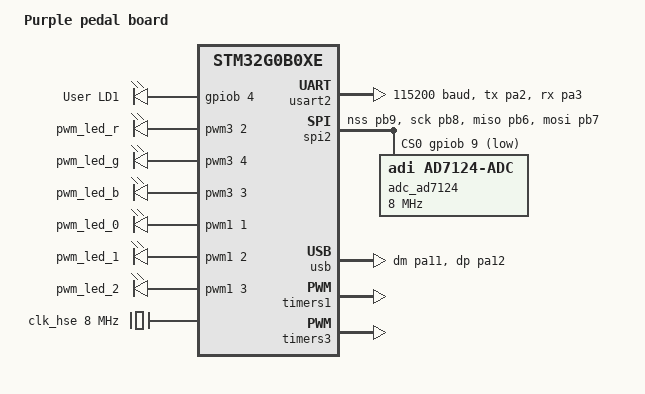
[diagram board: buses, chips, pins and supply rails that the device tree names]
/dts-v1/;
#include <st/g0/stm32g0b0Xe.dtsi>
#include <st/g0/stm32g0b0cetx-pinctrl.dtsi>
// #include <st/g0/stm32g0b1Xe.dtsi>
// #include <st/g0/stm32g0b1r(b-c-e)tx-pinctrl.dtsi>
#include <zephyr/dt-bindings/input/input-event-codes.h>

//#include <zephyr/dt-bindings/clock/stm32g0_b1x_c1x_clock.h>
//change to STM32G0B0CET6 

/ {
	model = "Purple pedal board";
	compatible = "zoudio,purple_pedal";

	chosen {
		zephyr,console = &usart2;
		zephyr,shell-uart = &usart2;
		zephyr,sram = &sram0;
		zephyr,flash = &flash0;
        //zephyr,uart-mcumgr = &cdc_acm_uart0;
        zephyr,code-partition = &slot0_partition;
	};

	// clocks {
	// 	clk_hsi48: clk-hsi48 {
	// 		#clock-cells = <0>;
	// 		compatible = "st,stm32-hsi48-clock";
	// 		clock-frequency = <DT_FREQ_M(48)>;
	// 		status = "okay";
	// 	};
	// };

	leds: leds {
		compatible = "gpio-leds";

		green_led_1: led_1 {
			gpios = <&gpiob 4 GPIO_ACTIVE_HIGH>;
			label = "User LD1";
		};

		// blue_led: led_2 {
		// 	gpios = <&gpioc 9 GPIO_ACTIVE_HIGH>;
		// 	label = "User LD2";
		// };
	};
	pwm_leds_rgb: pwm3leds {
		compatible = "pwm-leds";
		status = "okay";
		pwm_led_r: pwm_led_r {
			pwms = <&pwm3 2 PWM_MSEC(20) PWM_POLARITY_NORMAL>;
		};
		pwm_led_g: pwm_led_g {
			pwms = <&pwm3 4 PWM_MSEC(20) PWM_POLARITY_NORMAL>;
		};
		pwm_led_b: pwm_led_b {
			pwms = <&pwm3 3 PWM_MSEC(20) PWM_POLARITY_NORMAL>;
		};
	};

	pwm_leds_pedal: pwm1leds {
		compatible = "pwm-leds";
		status = "okay";
		pwm_led_0: pwm_led_0 {
			pwms = <&pwm1 1 PWM_MSEC(20) PWM_POLARITY_NORMAL>;
		};
		pwm_led_1: pwm_led_1 {
			pwms = <&pwm1 2 PWM_MSEC(20) PWM_POLARITY_NORMAL>;
		};
		pwm_led_2: pwm_led_2 {
			pwms = <&pwm1 3 PWM_MSEC(20) PWM_POLARITY_NORMAL>;
		};
	};

	// gpio_keys {
	// 	compatible = "gpio-keys";

	// 	user_button: button {
	// 		label = "user button";
	// 		gpios = <&gpioc 13 GPIO_ACTIVE_LOW>;
	// 		status = "okay";
	// 		zephyr,code = <INPUT_KEY_0>;
	// 	};
	// };

	aliases {
		led0 = &green_led_1;
		// led1 = &blue_led;
		//pwm-led0 = &green_pwm_led;
		//sw0 = &user_button;
		watchdog0 = &iwdg;
		die-temp0 = &die_temp;
		volt-sensor0 = &vref;
	};
};

//use internal 16MHz RC oscillator
// &clk_hsi {
// 	status = "okay";
// };

&clk_hse {
	clock-frequency = <DT_FREQ_M(8)>;
	status = "okay";
};

// &clk_lsi {
// 	status = "okay";
// };

// &pll {
// 	div-m = <1>;
// 	mul-n = <12>;// 16x12=192MHz
// 	div-p = <2>;
// 	div-q = <4>; // PLL/Q=48MHz
// 	div-r = <3>; // PLL/R=64MHz
// 	clocks = <&clk_hsi>;
// 	status = "okay";
// };

&pll {
	div-m = <1>;
	mul-n = <12>;// 8x24=192MHz
	div-p = <2>;
	div-q = <2>; // PLL/Q=48MHz
	div-r = <2>; // PLL/R=64MHz
	clocks = <&clk_hse>;
	status = "okay";
};

&rcc {
	clocks = <&pll>;
	clock-frequency = <DT_FREQ_M(48)>;
	ahb-prescaler = <1>;
	apb1-prescaler = <1>;
};


&usart2 {
	pinctrl-0 = <&usart2_tx_pa2 &usart2_rx_pa3>;
	pinctrl-names = "default";
	current-speed = <115200>;
	status = "okay";
};

&spi2 {
	pinctrl-0 = <&spi2_nss_pb9 &spi2_sck_pb8
		     &spi2_miso_pb6 &spi2_mosi_pb7>;
	pinctrl-names = "default";
    cs-gpios = <&gpiob 9 GPIO_ACTIVE_LOW>;
	status = "okay";
    adc_ad7124: ad7124@0 {
	    compatible = "adi,ad7124-adc";
	    reg = <0x0>;
	    spi-max-frequency = <8000000>;
	    #io-channel-cells = <1>;
	    active-device = <0>; //0 ID_AD7124_4, 1 ID_AD7124_8
        status = "okay";
    };
};

&usb_dm_pa11 {
	slew-rate = "medium-speed";
};

&usb_dp_pa12 {
	slew-rate = "medium-speed";
};

zephyr_udc0: &usb {
	pinctrl-0 = <&usb_dm_pa11 &usb_dp_pa12>;
	pinctrl-names = "default";
	clocks = <&rcc STM32_CLOCK(APB1, 13)>,
				 <&rcc STM32_SRC_PLL_Q USB_SEL(2)>;//not sure why, but USB_SEL(2) makes USB working
	//maximum-speed = "low-speed";
	//vbus-gpios = <&gpiob 5 GPIO_ACTIVE_HIGH>;
	// interrupts = <16 0>;
	// num-bidir-endpoints = <16>;
	// ram-size = <8192>;
	status = "okay";
};

&timers1 {
	status = "okay";
	st,prescaler = <10000>;
	pwm1: pwm{
		status = "okay";
		pinctrl-0 = <&tim1_ch1_pa8 &tim1_ch2_pa9 &tim1_ch3_pa10>;
		pinctrl-names = "default";
	};
};

&timers3 {
	status = "okay";
	st,prescaler = <10000>;
	pwm3: pwm{
		status = "okay";
		pinctrl-0 = <&tim3_ch2_pa7 &tim3_ch3_pb0 &tim3_ch4_pb1>;
		pinctrl-names = "default";
	};
};

&flash0 {
	partitions {
		compatible = "fixed-partitions";
		#address-cells = <1>;
		#size-cells = <1>;

		boot_partition: partition@0 {
			label = "mcuboot";
			reg = <0x00000000 DT_SIZE_K(48)>;
			read-only;
		};

		slot0_partition: partition@C000 {
			label = "image-0";
			reg = <0x0000C000 DT_SIZE_K(200)>;
		};

		slot1_partition: partition@3E000 {
			label = "image-1";
			reg = <0x0003E000 DT_SIZE_K(200)>;
		};

		/* final 64KiB reserved for app storage partition */
		storage_partition: partition@70000 {
			label = "storage";
			reg = <0x00070000 DT_SIZE_K(64)>;
		};
	};
};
